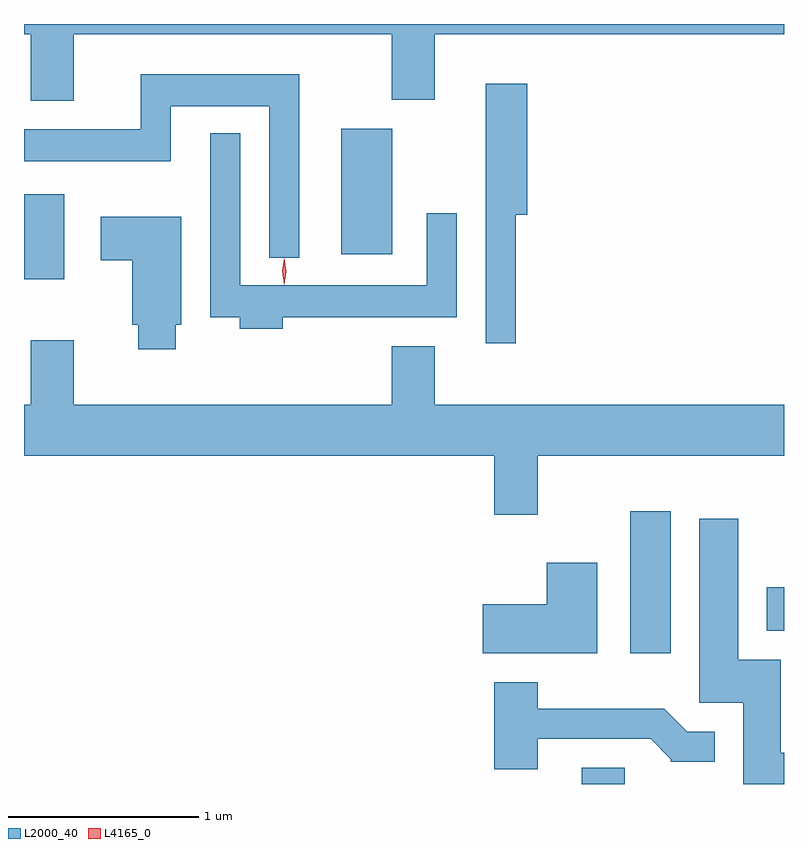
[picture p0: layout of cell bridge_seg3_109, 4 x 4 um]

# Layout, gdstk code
import gdstk
lib = gdstk.Library(unit=1e-6, precision=1e-09)
def R(c, l, rs):  # rectangles x0, y0, x1, y1
    for r in rs: c.add(gdstk.rectangle(r[:2], r[2:], *l))
def P(c, l, *ps):  # polygons
    for p in ps: c.add(gdstk.Polygon(p, *l))
L2000_40 = (2000, 40)
L4165_0 = (4165, 0)

bridge_seg3_109 = lib.new_cell('bridge_seg3_109')
R(bridge_seg3_109, L2000_40, [(1025.711,1213.089,1025.939,1213.174), (1025.966,1213.776,1026.179,1214.524), (1026.686,1213.896,1026.776,1214.124), (1022.776,1215.746,1022.989,1216.194), (1024.446,1215.876,1024.714,1216.539)])
P(bridge_seg3_109, L2000_40, [(1023.039,1217.036),(1024.711,1217.036),(1024.711,1216.691),(1024.939,1216.691),(1024.939,1217.036),(1026.776,1217.036),(1026.776,1217.089),(1022.776,1217.089),(1022.776,1217.036),(1022.811,1217.036),(1022.811,1216.686),(1023.039,1216.686)],
  [(1024.224,1216.824),(1023.391,1216.824),(1023.391,1216.534),(1022.776,1216.534),(1022.776,1216.366),(1023.549,1216.366),(1023.549,1216.656),(1024.066,1216.656),(1024.066,1215.858),(1024.224,1215.858)],
  [(1025.364,1216.086),(1025.424,1216.086),(1025.424,1216.774),(1025.206,1216.774),(1025.206,1215.408),(1025.364,1215.408)],
  [(1024.139,1215.546),(1025.054,1215.546),(1025.054,1216.093),(1024.896,1216.093),(1024.896,1215.714),(1023.914,1215.714),(1023.914,1216.513),(1023.756,1216.513),(1023.756,1215.546),(1023.911,1215.546),(1023.911,1215.486),(1024.139,1215.486)],
  [(1023.574,1215.506),(1023.604,1215.506),(1023.604,1216.074),(1023.181,1216.074),(1023.181,1215.846),(1023.346,1215.846),(1023.346,1215.506),(1023.376,1215.506),(1023.376,1215.376),(1023.574,1215.376)],
  [(1025.479,1214.816),(1026.776,1214.816),(1026.776,1215.084),(1024.939,1215.084),(1024.939,1215.394),(1024.711,1215.394),(1024.711,1215.084),(1023.039,1215.084),(1023.039,1215.424),(1022.811,1215.424),(1022.811,1215.084),(1022.776,1215.084),(1022.776,1214.816),(1025.251,1214.816),(1025.251,1214.506),(1025.479,1214.506)],
  [(1026.776,1213.254),(1026.759,1213.254),(1026.759,1213.744),(1026.534,1213.744),(1026.534,1214.484),(1026.331,1214.484),(1026.331,1213.516),(1026.561,1213.516),(1026.561,1213.089),(1026.776,1213.089)],
  [(1025.794,1214.254),(1025.526,1214.254),(1025.526,1214.034),(1025.191,1214.034),(1025.191,1213.776),(1025.794,1213.776)],
  [(1025.479,1213.326),(1026.074,1213.326),(1026.18,1213.22),(1026.18,1213.206),(1026.412,1213.206),(1026.412,1213.364),(1026.267,1213.364),(1026.147,1213.484),(1025.479,1213.484),(1025.479,1213.624),(1025.251,1213.624),(1025.251,1213.166),(1025.479,1213.166)])
P(bridge_seg3_109, L4165_0, [(1024.145,1215.717),(1024.136,1215.787),(1024.145,1215.856),(1024.146,1215.856),(1024.146,1215.856),(1024.156,1215.787),(1024.146,1215.717),(1024.146,1215.717)],
  [(1024.147,1215.719),(1024.146,1215.72),(1024.137,1215.786),(1024.146,1215.852),(1024.147,1215.853),(1024.147,1215.852),(1024.157,1215.786),(1024.147,1215.72)])

lib.write_gds('bridge_seg3_109.gds')
